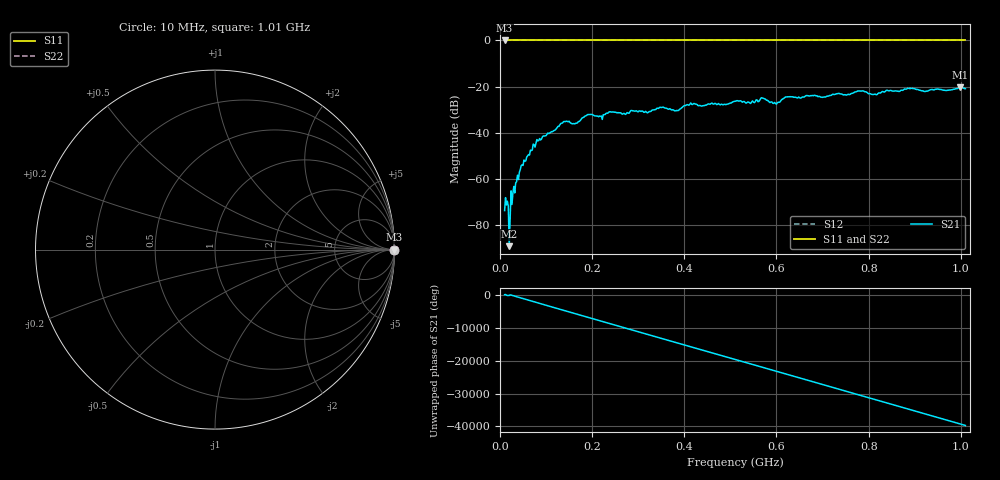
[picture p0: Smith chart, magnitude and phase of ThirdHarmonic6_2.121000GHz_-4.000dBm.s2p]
! 8/17/2025 1:21:11 AM
! C:\ANRITSUVNA\TEMP\TEMP.S2P
! CHANNEL.1
! TR.MEASUREMENT
! RAW.DATA
! RF.CORRECTION.OFF
! AVERAGING.OFF
! IF.BANDWIDTH: 5KHZ
! SWEEPTYPE:  FREQ.SWEEP(Linear)
! Reference Plane Port Info
! PORT:  PORT1  PORT2
! DISTANCE:  0  m  0  m
! TIME:  0  s  0  s
! PHASE.OFFSET:  0  deg.  0  deg.
! LOSS:  0  dB  0  dB
! REF.LOSS:  0  dB  0  dB
! REF.FREQ:  0  Hz  0  Hz
! Power Info
! POWER:  -20  dBm  -20  dBm
! EFF.POWER:  -20  dBm  -20  dBm
! SOURCE.ATTEN:  0  dB  0  dB
! TEST.ATTEN:  0  dB  0  dB
# GHZ S RI R 50.0
! FREQ.GHZ  S11RE  S11IM  S21RE  S21IM  S12RE  S12IM  S22RE  S22IM
!; PortSelection: Port_12
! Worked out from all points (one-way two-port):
!   501 points, 10 MHz to 1.01 GHz, reference 50 ohm
!   highest |S21| = -20.35 dB at 998 MHz (marker M1); lowest = -89.3 dB at 20 MHz (marker M2)
!   lowest |S11| = 0.0 dB at 10 MHz (marker M3)
!   |S11| at or under -10 dB: nowhere
!   |S22| runs from 0.0 to 0.0 dB; largest |S21 - S12| = 1.1
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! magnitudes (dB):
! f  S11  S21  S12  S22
! 10 MHz  0.0  -73.9  0.0  0.0
! 14 MHz  0.0  -71.4  0.0  0.0
! 18 MHz  0.0  -71.9  0.0  0.0
! 20 MHz  0.0  -89.3  0.0  0.0
! 24 MHz  0.0  -65.3  0.0  0.0
! 28 MHz  0.0  -66.2  0.0  0.0
! 48 MHz  0.0  -54.0  0.0  0.0
! 76 MHz  0.0  -46.3  0.0  0.0
! 136 MHz  0.0  -35.8  0.0  0.0
! 164 MHz  0.0  -36.0  0.0  0.0
! 178 MHz  0.0  -33.7  0.0  0.0
! 344 MHz  0.0  -29.5  0.0  0.0
! 382 MHz  0.0  -30.5  0.0  0.0
! 416 MHz  0.0  -27.8  0.0  0.0
! 510 MHz  0.0  -26.4  0.0  0.0
! 570 MHz  0.0  -25.0  0.0  0.0
! 596 MHz  0.0  -26.9  0.0  0.0
! 622 MHz  0.0  -24.5  0.0  0.0
! 678 MHz  0.0  -23.9  0.0  0.0
! 844 MHz  0.0  -21.9  0.0  0.0
! 998 MHz  0.0  -20.3  0.0  0.0
! 1.01 GHz  0.0  -20.9  0.0  0.0
